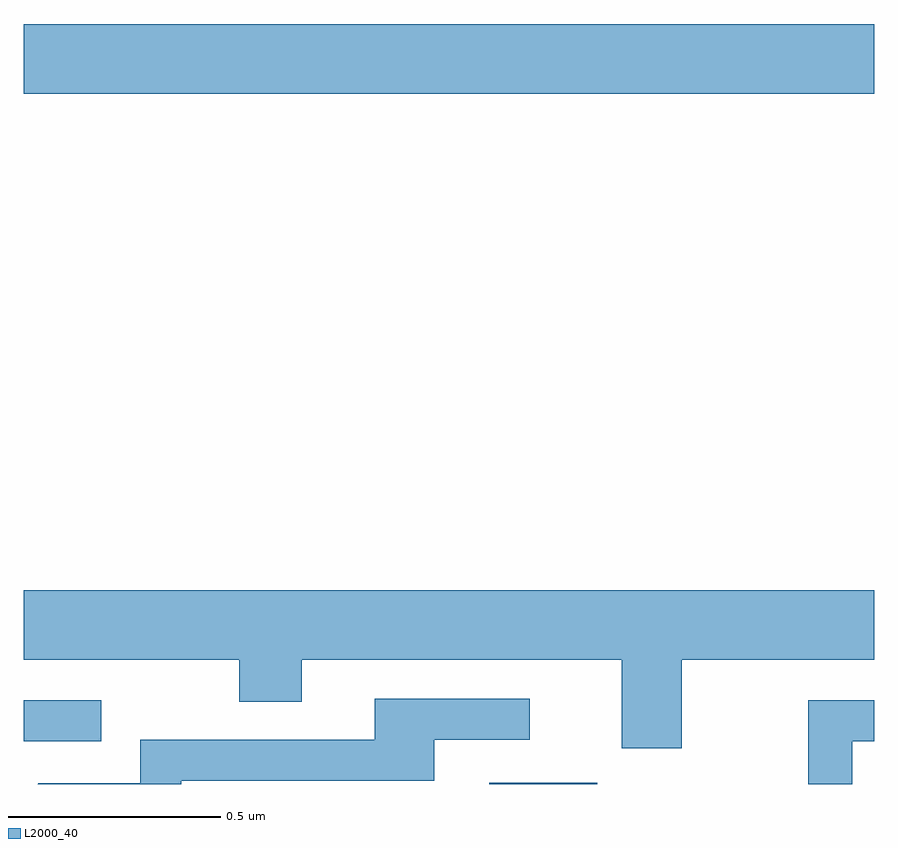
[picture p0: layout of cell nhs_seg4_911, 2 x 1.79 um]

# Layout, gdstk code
import gdstk
lib = gdstk.Library(unit=1e-6, precision=1e-09)
def R(c, l, rs):  # rectangles x0, y0, x1, y1
    for r in rs: c.add(gdstk.rectangle(r[:2], r[2:], *l))
def P(c, l, *ps):  # polygons
    for p in ps: c.add(gdstk.Polygon(p, *l))
L2000_40 = (2000, 40)

nhs_seg4_911 = lib.new_cell('nhs_seg4_911')
R(nhs_seg4_911, L2000_40, [(123.095,757.9,123.349,757.903), (122,758.001,122.182,758.097), (122,759.524,124,759.688)])
P(nhs_seg4_911, L2000_40, [(123.547,758.192),(124,758.192),(124,758.356),(122,758.356),(122,758.192),(122.506,758.192),(122.506,758.093),(122.653,758.093),(122.653,758.192),(123.407,758.192),(123.407,757.984),(123.547,757.984)],
  [(122.37,757.908),(122.965,757.908),(122.965,758.004),(123.19,758.004),(123.19,758.1),(122.825,758.1),(122.825,758.004),(122.274,758.004),(122.274,757.902),(122.034,757.902),(122.032,757.9),(122.37,757.9)],
  [(123.949,758.001),(124,758.001),(124,758.097),(123.845,758.097),(123.845,757.9),(123.949,757.9)])

lib.write_gds('nhs_seg4_911.gds')
